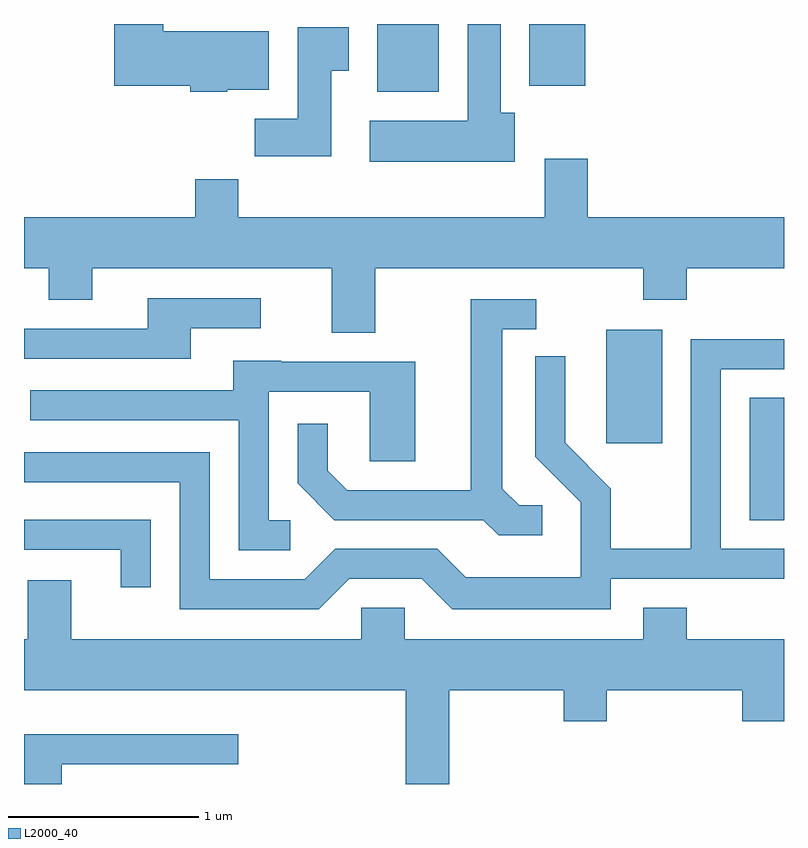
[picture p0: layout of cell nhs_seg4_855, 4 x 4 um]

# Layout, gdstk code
import gdstk
lib = gdstk.Library(unit=1e-6, precision=1e-09)
def R(c, l, rs):  # rectangles x0, y0, x1, y1
    for r in rs: c.add(gdstk.rectangle(r[:2], r[2:], *l))
def P(c, l, *ps):  # polygons
    for p in ps: c.add(gdstk.Polygon(p, *l))
L2000_40 = (2000, 40)

nhs_seg4_855 = lib.new_cell('nhs_seg4_855')
R(nhs_seg4_855, L2000_40, [(213.431,1333.371,213.611,1334.014), (212.676,1333.776,212.969,1334.374), (211.471,1335.626,211.794,1335.982), (212.271,1335.656,212.564,1335.982)])
P(nhs_seg4_855, L2000_40, [(212.194,1335.514),(212.119,1335.514),(212.119,1335.982),(211.946,1335.982),(211.946,1335.474),(211.431,1335.474),(211.431,1335.256),(212.194,1335.256)],
  [(210.68,1335.636),(210.899,1335.636),(210.899,1335.944),(210.344,1335.944),(210.344,1335.982),(210.086,1335.982),(210.086,1335.656),(210.486,1335.656),(210.486,1335.626),(210.68,1335.626)],
  [(211.229,1335.736),(211.319,1335.736),(211.319,1335.964),(211.051,1335.964),(211.051,1335.484),(210.826,1335.484),(210.826,1335.286),(211.229,1335.286)],
  [(211.459,1334.696),(212.871,1334.696),(212.871,1334.531),(213.099,1334.531),(213.099,1334.696),(213.611,1334.696),(213.611,1334.964),(212.579,1334.964),(212.579,1335.274),(212.351,1335.274),(212.351,1334.964),(210.739,1334.964),(210.739,1335.164),(210.511,1335.164),(210.511,1334.964),(209.611,1334.964),(209.611,1334.696),(209.741,1334.696),(209.741,1334.531),(209.969,1334.531),(209.969,1334.696),(211.231,1334.696),(211.231,1334.356),(211.459,1334.356)],
  [(210.489,1334.381),(210.858,1334.381),(210.858,1334.539),(210.261,1334.539),(210.261,1334.379),(209.611,1334.379),(209.611,1334.221),(210.489,1334.221)],
  [(212.338,1333.449),(212.217,1333.449),(212.129,1333.537),(212.129,1334.376),(212.308,1334.376),(212.308,1334.534),(211.961,1334.534),(211.961,1333.529),(211.312,1333.529),(211.209,1333.632),(211.209,1333.878),(211.051,1333.878),(211.051,1333.564),(211.244,1333.371),(212.029,1333.371),(212.109,1333.291),(212.338,1333.291)],
  [(211.322,1333.061),(211.704,1333.061),(211.864,1332.901),(212.699,1332.901),(212.699,1333.061),(213.611,1333.061),(213.611,1333.219),(213.279,1333.219),(213.279,1334.166),(213.611,1334.166),(213.611,1334.324),(213.121,1334.324),(213.121,1333.219),(212.699,1333.219),(212.699,1333.537),(212.459,1333.777),(212.459,1334.233),(212.301,1334.233),(212.301,1333.704),(212.541,1333.464),(212.541,1333.069),(211.937,1333.069),(211.787,1333.219),(211.249,1333.219),(211.089,1333.059),(210.589,1333.059),(210.589,1333.729),(209.611,1333.729),(209.611,1333.571),(210.431,1333.571),(210.431,1332.901),(211.162,1332.901)],
  [(211.013,1333.369),(210.899,1333.369),(210.899,1334.046),(211.431,1334.046),(211.431,1333.681),(211.669,1333.681),(211.669,1334.204),(210.965,1334.204),(210.965,1334.209),(210.711,1334.209),(210.711,1334.054),(209.643,1334.054),(209.643,1333.896),(210.741,1333.896),(210.741,1333.211),(211.013,1333.211)],
  [(210.279,1333.374),(209.611,1333.374),(209.611,1333.216),(210.121,1333.216),(210.121,1333.018),(210.279,1333.018)],
  [(211.849,1332.476),(212.451,1332.476),(212.451,1332.311),(212.679,1332.311),(212.679,1332.476),(213.391,1332.476),(213.391,1332.311),(213.611,1332.311),(213.611,1332.744),(213.099,1332.744),(213.099,1332.909),(212.871,1332.909),(212.871,1332.744),(211.614,1332.744),(211.614,1332.909),(211.386,1332.909),(211.386,1332.744),(209.859,1332.744),(209.859,1333.054),(209.631,1333.054),(209.631,1332.744),(209.611,1332.744),(209.611,1332.476),(211.621,1332.476),(211.621,1331.982),(211.849,1331.982)],
  [(209.809,1332.086),(210.738,1332.086),(210.738,1332.244),(209.611,1332.244),(209.611,1331.982),(209.809,1331.982)])

lib.write_gds('nhs_seg4_855.gds')
